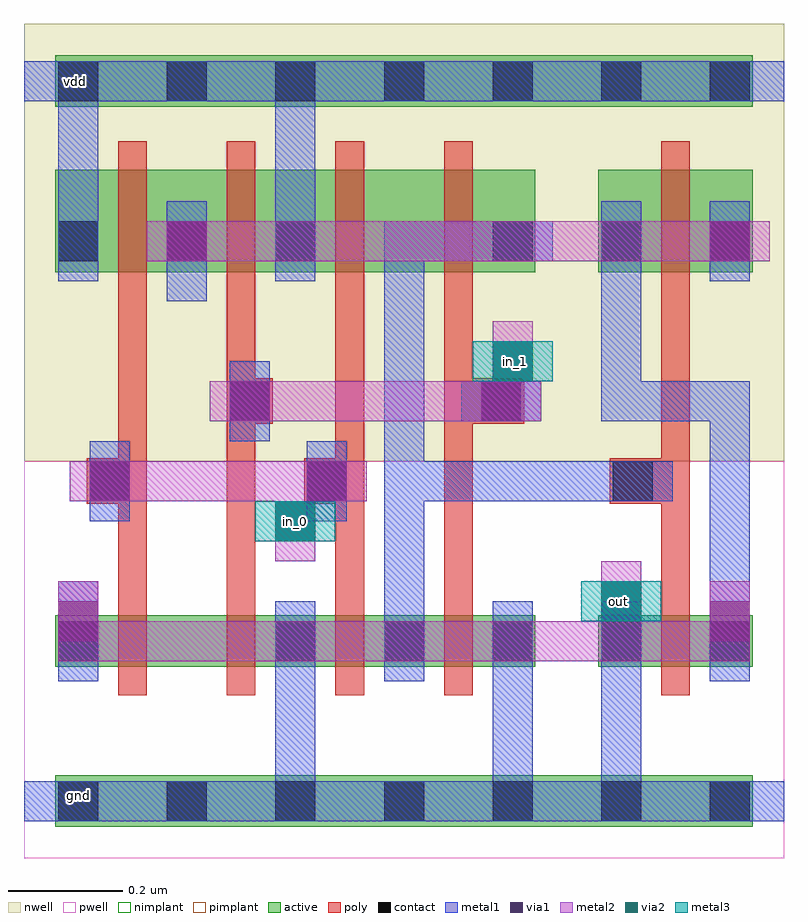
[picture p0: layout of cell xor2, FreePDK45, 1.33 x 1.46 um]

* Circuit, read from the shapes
.subckt xor2 gnd in_0 in_1 out vdd
M1 n1 in_0 out gnd nfet w=0.09u l=0.05u
M2 gnd in_1 n1 gnd nfet w=0.09u l=0.05u
M3 n2 in_0 gnd gnd nfet w=0.09u l=0.05u
M4 gnd in_1 n2 gnd nfet w=0.09u l=0.05u
M5 out n2 gnd gnd nfet w=0.09u l=0.05u
M6 n3 in_0 vdd vdd pfet w=0.18u l=0.05u
M7 vdd in_1 n3 vdd pfet w=0.18u l=0.05u
M8 n4 in_0 vdd vdd pfet w=0.18u l=0.05u
M9 n2 in_1 n4 vdd pfet w=0.18u l=0.05u
M10 n3 n2 out vdd pfet w=0.18u l=0.05u
.ends

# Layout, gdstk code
import gdstk
lib = gdstk.Library(unit=1e-6, precision=5e-10)
def R(c, l, rs):  # rectangles x0, y0, x1, y1
    for r in rs: c.add(gdstk.rectangle(r[:2], r[2:], *l))
def A(c, l, x, y, w, h, nx, ny, dx, dy):  # array of equal rectangles
    R(c, l, [(x+i*dx, y+j*dy, x+i*dx+w, y+j*dy+h) for i in range(nx) for j in range(ny)])
active = (1, 0)
pwell = (2, 0)
nwell = (3, 0)
nimplant = (4, 0)
pimplant = (5, 0)
poly = (9, 0)
contact = (10, 0)
metal1 = (11, 0)
via1 = (12, 0)
metal2 = (13, 0)
via2 = (14, 0)
metal3 = (15, 0)

xor2 = lib.new_cell('xor2')
R(xor2, active, [(0.055,-0.045,1.275,0.045), (0.055,0.235,0.895,0.325), (1.005,0.235,1.275,0.325), (0.055,0.925,0.895,1.105), (1.005,0.925,1.275,1.105), (0.055,1.215,1.275,1.305)])
R(xor2, pwell, [(0,-0.1,1.33,0.595)])
R(xor2, nwell, [(0,0.595,1.33,1.36)])
R(xor2, nimplant, [(0.055,0.235,0.895,0.325), (1.005,0.235,1.275,0.325), (0.055,1.215,1.275,1.305)])
R(xor2, pimplant, [(0.055,-0.045,1.275,0.045), (0.055,0.925,0.895,1.105), (1.005,0.925,1.275,1.105)])
A(xor2, poly, 0.165, 0.185, 0.05, 0.97, 4, 1, 0.19, 0)
R(xor2, poly, [(1.115,0.185,1.165,1.155), (0.11,0.52,0.165,0.6), (0.49,0.52,0.545,0.6), (1.025,0.52,1.115,0.6), (0.405,0.66,0.435,0.74), (0.785,0.66,0.875,0.74)])
A(xor2, contact, 0.06, -0.035, 0.07, 0.07, 7, 2, 0.19, 1.26)
A(xor2, contact, 0.44, 0.245, 0.07, 0.07, 5, 1, 0.19, 0)
A(xor2, contact, 0.06, 0.945, 0.07, 0.07, 3, 1, 0.19, 0)
A(xor2, contact, 0.82, 0.945, 0.07, 0.07, 3, 1, 0.19, 0)
R(xor2, contact, [(0.06,0.245,0.13,0.315), (0.115,0.525,0.185,0.595), (0.495,0.525,0.565,0.595), (1.03,0.525,1.1,0.595), (0.36,0.665,0.43,0.735), (0.8,0.665,0.87,0.735)])
R(xor2, metal1, [(0,-0.035,1.33,0.035), (0.44,0.035,0.51,0.35), (0.82,0.035,0.89,0.35), (1.01,0.035,1.08,0.35), (0.06,0.21,0.13,0.385), (0.63,0.21,0.7,1.015), (1.2,0.21,1.27,0.735), (0.115,0.49,0.185,0.63), (0.495,0.49,0.565,0.63), (0.7,0.525,1.135,0.595), (0.36,0.63,0.43,0.77), (0.765,0.665,0.905,0.735), (1.01,0.665,1.2,0.735), (1.01,0.735,1.08,1.05), (0.25,0.875,0.32,1.05), (0.06,0.91,0.13,1.225), (0.44,0.91,0.51,1.225), (1.2,0.91,1.27,1.05), (0.7,0.945,0.925,1.015), (0,1.225,1.33,1.295)])
R(xor2, via1, [(0.06,0.28,0.13,0.35), (1.2,0.28,1.27,0.35), (0.115,0.525,0.185,0.595), (0.495,0.525,0.565,0.595), (0.36,0.665,0.43,0.735), (0.8,0.665,0.87,0.735), (0.25,0.945,0.32,1.015), (1.2,0.945,1.27,1.015)])
R(xor2, metal2, [(0.06,0.245,0.13,0.385), (0.13,0.245,1.2,0.315), (1.2,0.245,1.27,0.385), (1.01,0.315,1.08,0.42), (0.44,0.42,0.51,0.525), (0.08,0.525,0.6,0.595), (0.325,0.665,0.905,0.735), (0.82,0.735,0.89,0.84), (0.215,0.945,1.305,1.015)])
R(xor2, via2, [(1.01,0.315,1.08,0.385), (0.44,0.455,0.51,0.525), (0.82,0.735,0.89,0.805)])
R(xor2, metal3, [(0.975,0.315,1.115,0.385), (0.405,0.455,0.545,0.525), (0.785,0.735,0.925,0.805)])
xor2.add(gdstk.Label('vdd', (0.09,1.26), layer=11, texttype=0))
xor2.add(gdstk.Label('gnd', (0.095,0.01), layer=11, texttype=0))
xor2.add(gdstk.Label('in_1', (0.86,0.77), layer=15, texttype=0))
xor2.add(gdstk.Label('out', (1.04,0.35), layer=15, texttype=0))
xor2.add(gdstk.Label('in_0', (0.475,0.49), layer=15, texttype=0))

lib.write_gds('xor2.gds')
